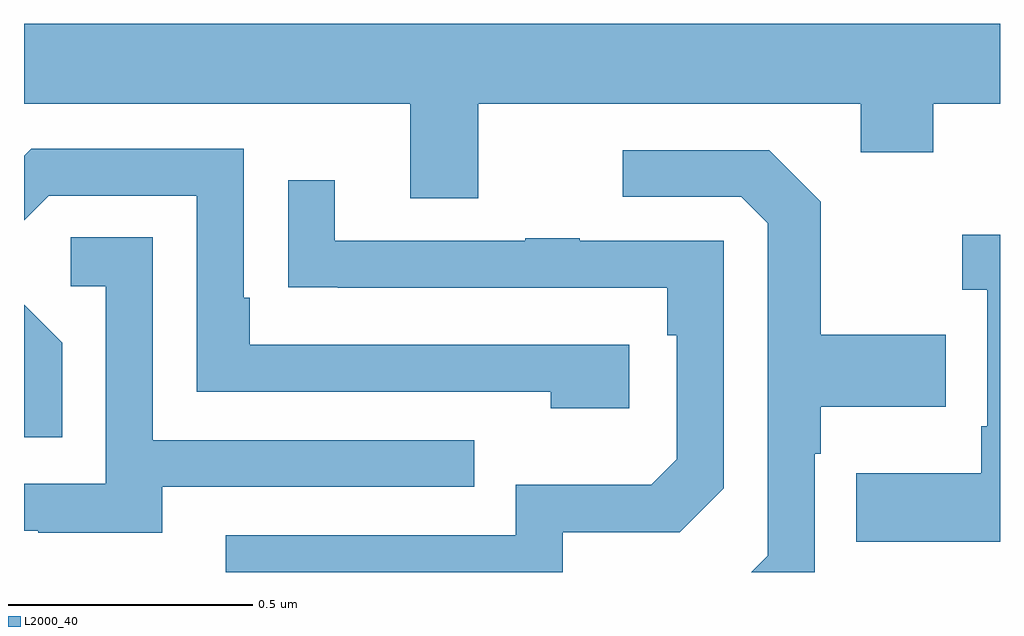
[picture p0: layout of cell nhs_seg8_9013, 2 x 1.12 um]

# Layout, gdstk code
import gdstk
lib = gdstk.Library(unit=1e-6, precision=1e-09)
def P(c, l, *ps):  # polygons
    for p in ps: c.add(gdstk.Polygon(p, *l))
L2000_40 = (2000, 40)

nhs_seg8_9013 = lib.new_cell('nhs_seg8_9013')
P(nhs_seg8_9013, L2000_40, [(231.931,1089.86),(232.715,1089.86),(232.715,1089.761),(232.863,1089.761),(232.863,1089.86),(233,1089.86),(233,1090.024),(231,1090.024),(231,1089.86),(231.791,1089.86),(231.791,1089.666),(231.931,1089.666)],
  [(232.24,1089.366),(231.463,1089.366),(231.463,1089.463),(231.45,1089.463),(231.45,1089.768),(231.015,1089.768),(231,1089.753),(231,1089.621),(231.051,1089.672),(231.354,1089.672),(231.354,1089.27),(232.079,1089.27),(232.079,1089.236),(232.24,1089.236)],
  [(232.62,1089.143),(232.633,1089.143),(232.633,1089.239),(232.889,1089.239),(232.889,1089.387),(232.633,1089.387),(232.633,1089.659),(232.527,1089.765),(232.227,1089.765),(232.227,1089.669),(232.47,1089.669),(232.524,1089.615),(232.524,1088.934),(232.49,1088.9),(232.62,1088.9)],
  [(232.104,1088.982),(232.344,1088.982),(232.434,1089.072),(232.434,1089.579),(232.139,1089.579),(232.139,1089.584),(232.027,1089.584),(232.027,1089.579),(231.637,1089.579),(231.637,1089.703),(231.541,1089.703),(231.541,1089.484),(231.643,1089.484),(231.643,1089.483),(232.318,1089.483),(232.318,1089.386),(232.338,1089.386),(232.338,1089.132),(232.285,1089.079),(232.008,1089.079),(232.008,1088.976),(231.413,1088.976),(231.413,1088.9),(232.104,1088.9)],
  [(233,1089.592),(232.923,1089.592),(232.923,1089.479),(232.974,1089.479),(232.974,1089.199),(232.962,1089.199),(232.962,1089.103),(232.705,1089.103),(232.705,1088.963),(233,1088.963)],
  [(231.283,1089.075),(231.923,1089.075),(231.923,1089.171),(231.264,1089.171),(231.264,1089.587),(231.096,1089.587),(231.096,1089.486),(231.168,1089.486),(231.168,1089.081),(231,1089.081),(231,1088.985),(231.029,1088.985),(231.029,1088.981),(231.283,1088.981)],
  [(231.078,1089.37),(231,1089.448),(231,1089.177),(231.078,1089.177)])

lib.write_gds('nhs_seg8_9013.gds')
